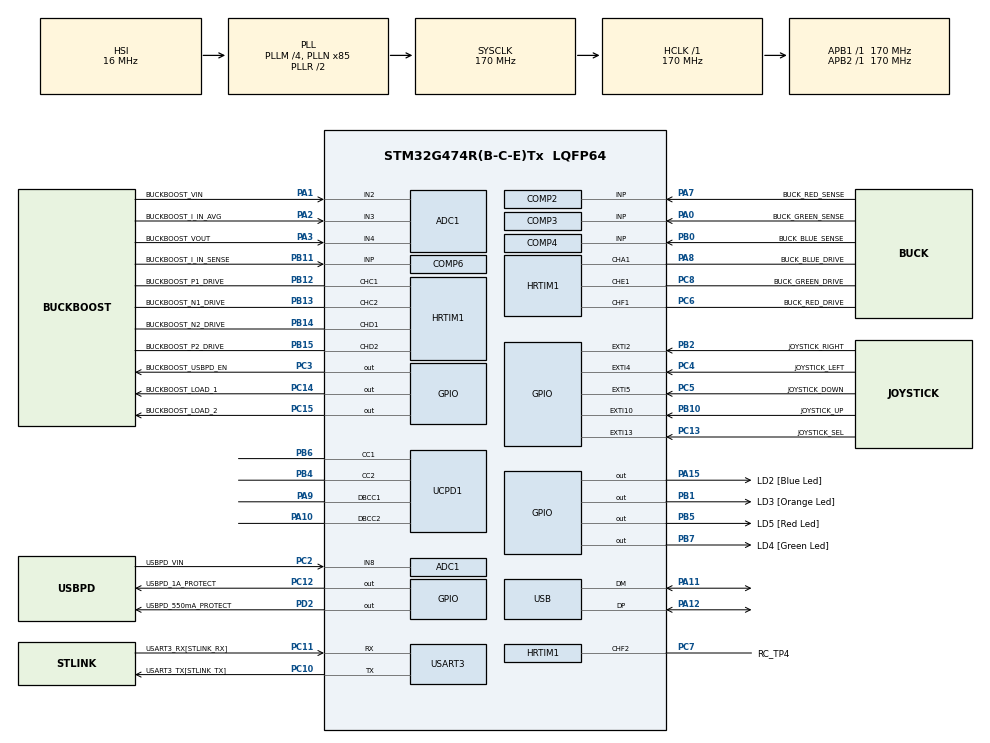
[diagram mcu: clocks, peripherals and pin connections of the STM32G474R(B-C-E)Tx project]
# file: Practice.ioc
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ADC1.Channel-0\#ChannelRegularConversion=ADC_CHANNEL_8
ADC1.NbrOfConversionFlag=1
ADC1.OffsetNumber-0\#ChannelRegularConversion=ADC_OFFSET_NONE
ADC1.Rank-0\#ChannelRegularConversion=1
ADC1.SamplingTime-0\#ChannelRegularConversion=ADC_SAMPLETIME_2CYCLES_5
ADC1.master=1
DAC3.DAC_Channel-DAC_OUT2_Int=DAC_CHANNEL_2
Mcu.Family=STM32G4
Mcu.Name=STM32G474R(B-C-E)Tx
Mcu.Package=LQFP64
NVIC.ADC1_2_IRQn=true\:0\:0\:false\:false\:true\:true\:true\:true
NVIC.EXTI15_10_IRQn=true\:0\:0\:false\:false\:true\:true\:true\:true
NVIC.EXTI2_IRQn=true\:0\:0\:false\:false\:true\:true\:true\:true
NVIC.EXTI4_IRQn=true\:0\:0\:false\:false\:true\:true\:true\:true
NVIC.EXTI9_5_IRQn=true\:0\:0\:false\:false\:true\:true\:true\:true
NVIC.HRTIM1_Master_IRQn=true\:0\:0\:false\:false\:true\:true\:true\:true
NVIC.HRTIM1_TIMF_IRQn=true\:0\:0\:false\:false\:true\:true\:true\:true
NVIC.PriorityGroup=NVIC_PRIORITYGROUP_4
NVIC.USART3_IRQn=true\:0\:0\:false\:false\:true\:true\:true\:true
NVIC.USB_HP_IRQn=true\:0\:0\:false\:false\:true\:true\:true\:true
PA0.GPIO_Label=BUCK_GREEN_SENSE
PA0.Mode=INP
PA0.Signal=COMP3_INP
PA1.GPIO_Label=BUCKBOOST_VIN
PA1.Mode=IN2-Single-Ended
PA1.Signal=ADC1_IN2
PA10.Mode=EnableDeadBattery
PA10.Signal=UCPD1_DBCC2
PA11.Mode=Device
PA11.Signal=USB_DM
PA12.Mode=Device
PA12.Signal=USB_DP
PA13.Mode=Serial_Wire
PA13.Signal=SYS_JTMS-SWDIO
PA14.Mode=Serial_Wire
PA14.Signal=SYS_JTCK-SWCLK
PA15.GPIO_Label=LD2 [Blue Led]
PA15.Signal=GPIO_Output
PA2.GPIO_Label=BUCKBOOST_I_IN_AVG
PA2.Mode=IN3-Single-Ended
PA2.Signal=ADC1_IN3
PA3.GPIO_Label=BUCKBOOST_VOUT
PA3.Mode=IN4-Single-Ended
PA3.Signal=ADC1_IN4
PA7.GPIO_Label=BUCK_RED_SENSE
PA7.Mode=INP
PA7.Signal=COMP2_INP
PA8.GPIO_Label=BUCK_BLUE_DRIVE
PA8.Mode=Output_TA1
PA8.Signal=HRTIM1_CHA1
PA9.Mode=EnableDeadBattery
PA9.Signal=UCPD1_DBCC1
PB0.GPIO_Label=BUCK_BLUE_SENSE
PB0.Mode=INP
PB0.Signal=COMP4_INP
PB1.GPIO_Label=LD3 [Orange Led]
PB1.Signal=GPIO_Output
PB10.GPIO_Label=JOYSTICK_UP
PB10.GPIO_PuPd=GPIO_PULLUP
PB10.Signal=GPXTI10
PB11.GPIO_Label=BUCKBOOST_I_IN_SENSE
PB11.Mode=INP
PB11.Signal=COMP6_INP
PB12.GPIO_Label=BUCKBOOST_P1_DRIVE
PB12.Mode=Output_TC1TC2
PB12.Signal=HRTIM1_CHC1
PB13.GPIO_Label=BUCKBOOST_N1_DRIVE
PB13.Mode=Output_TC1TC2
PB13.Signal=HRTIM1_CHC2
PB14.GPIO_Label=BUCKBOOST_N2_DRIVE
PB14.Mode=Output_TD1TD2
PB14.Signal=HRTIM1_CHD1
PB15.GPIO_Label=BUCKBOOST_P2_DRIVE
PB15.Mode=Output_TD1TD2
PB15.Signal=HRTIM1_CHD2
PB2.GPIO_Label=JOYSTICK_RIGHT
PB2.GPIO_PuPd=GPIO_PULLUP
PB2.Signal=GPXTI2
PB3.Signal=SYS_JTDO-SWO
PB4.Mode=Sink_AllSignals
PB4.Signal=UCPD1_CC2
PB5.GPIO_Label=LD5 [Red Led]
PB5.Signal=GPIO_Output
PB6.Mode=Sink_AllSignals
PB6.Signal=UCPD1_CC1
PB7.GPIO_Label=LD4 [Green Led]
PB7.Signal=GPIO_Output
PC10.GPIO_Label=USART3_TX[STLINK_TX]
PC10.GPIO_Speed=GPIO_SPEED_FREQ_MEDIUM
PC10.Mode=Asynchronous
PC10.Signal=USART3_TX
PC11.GPIO_Label=USART3_RX[STLINK_RX]
PC11.GPIO_Speed=GPIO_SPEED_FREQ_MEDIUM
PC11.Mode=Asynchronous
PC11.Signal=USART3_RX
PC12.GPIO_Label=USBPD_1A_PROTECT
PC12.Signal=GPIO_Output
PC13.GPIO_Label=JOYSTICK_SEL
PC13.GPIO_PuPd=GPIO_PULLUP
PC13.Signal=GPXTI13
PC14-OSC32_IN.GPIO_Label=BUCKBOOST_LOAD_1
PC14-OSC32_IN.Signal=GPIO_Output
PC15-OSC32_OUT.GPIO_Label=BUCKBOOST_LOAD_2
PC15-OSC32_OUT.Signal=GPIO_Output
PC2.GPIO_Label=USBPD_VIN
PC2.Mode=IN8-Single-Ended
PC2.Signal=ADC1_IN8
PC3.GPIO_Label=BUCKBOOST_USBPD_EN
PC3.Signal=GPIO_Output
PC4.GPIO_Label=JOYSTICK_LEFT
PC4.GPIO_PuPd=GPIO_PULLUP
PC4.Signal=GPXTI4
PC5.GPIO_Label=JOYSTICK_DOWN
PC5.GPIO_PuPd=GPIO_PULLUP
PC5.Signal=GPXTI5
PC6.GPIO_Label=BUCK_RED_DRIVE
PC6.Mode=Output_TF1TF2
PC6.Signal=HRTIM1_CHF1
PC7.GPIO_Label=RC_TP4
PC7.Mode=Output_TF1TF2
PC7.Signal=HRTIM1_CHF2
PC8.GPIO_Label=BUCK_GREEN_DRIVE
PC8.Mode=Output_TE1
PC8.Signal=HRTIM1_CHE1
PD2.GPIO_Label=USBPD_550mA_PROTECT
PD2.Signal=GPIO_Output
ProjectManager.HeapSize=0x200
ProjectManager.StackSize=0x400
ProjectManager.TargetToolchain=STM32CubeIDE
RCC.ADC12Freq_Value=170000000
RCC.ADC345Freq_Value=170000000
RCC.AHBFreq_Value=170000000
RCC.APB1Freq_Value=170000000
RCC.APB1TimFreq_Value=170000000
RCC.APB2Freq_Value=170000000
RCC.APB2TimFreq_Value=170000000
RCC.CK48CLockSelection=RCC_USBCLKSOURCE_HSI48
RCC.CortexFreq_Value=170000000
RCC.EXTERNAL_CLOCK_VALUE=12288000
RCC.HCLKFreq_Value=170000000
RCC.HSE_VALUE=8000000
RCC.HSI48_VALUE=48000000
RCC.HSI_VALUE=16000000
RCC.LSE_VALUE=32768
RCC.PLLM=RCC_PLLM_DIV4
RCC.PLLN=85
RCC.PLLP=RCC_PLLP_DIV8
RCC.PLLQ=RCC_PLLQ_DIV8
RCC.SYSCLKFreq_VALUE=170000000
RCC.SYSCLKSource=RCC_SYSCLKSOURCE_PLLCLK
RCC.USBFreq_Value=48000000
RCC.VCOOutputFreq_Value=340000000
USART3.ClockPrescaler=PRESCALER_DIV4
USART3.VirtualMode-Asynchronous=VM_ASYNC
USART3.WordLength=WORDLENGTH_8B
VP_COMP2_VS_DAC3OUT2.Mode=INM_DAC3OUT2
VP_COMP3_VS_DAC3OUT1.Mode=INM_DAC3OUT1
VP_COMP4_VS_DAC1OUT1.Mode=INM_DAC1OUT1
VP_COMP6_VS_DAC2OUT1.Mode=INM_DAC2OUT1
VP_DAC1_VS_DACI1.Mode=DAC_OUT1_Int
VP_DAC2_VS_DACI1.Mode=DAC_OUT1_Int
VP_DAC3_VS_DACI1.Mode=DAC_OUT1_Int
VP_DAC3_VS_DACI2.Mode=DAC_OUT2_Int
board=B-G474E-DPOW1

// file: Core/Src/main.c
/* USER CODE BEGIN Header */
/**
  ******************************************************************************
  * @file           : main.c
  * @brief          : Main program body
  ******************************************************************************
  * @attention
  *
  * Copyright (c) 2026 STMicroelectronics.
  * All rights reserved.
  *
  * This software is licensed under terms that can be found in the LICENSE file
  * in the root directory of this software component.
  * If no LICENSE file comes with this software, it is provided AS-IS.
  *
  ******************************************************************************
  */
/* USER CODE END Header */
#include "main.h"

ADC_HandleTypeDef hadc1;

COMP_HandleTypeDef hcomp2;
COMP_HandleTypeDef hcomp3;
COMP_HandleTypeDef hcomp4;
COMP_HandleTypeDef hcomp6;

DAC_HandleTypeDef hdac1;
DAC_HandleTypeDef hdac2;
DAC_HandleTypeDef hdac3;

HRTIM_HandleTypeDef hhrtim1;

UART_HandleTypeDef huart3;

PCD_HandleTypeDef hpcd_USB_FS;

void SystemClock_Config(void);
static void MX_GPIO_Init(void);
static void MX_ADC1_Init(void);
static void MX_COMP2_Init(void);
static void MX_COMP3_Init(void);
static void MX_COMP4_Init(void);
static void MX_COMP6_Init(void);
static void MX_DAC1_Init(void);
static void MX_DAC2_Init(void);
static void MX_DAC3_Init(void);
static void MX_HRTIM1_Init(void);
static void MX_UCPD1_Init(void);
static void MX_USART3_UART_Init(void);
static void MX_USB_PCD_Init(void);

int main(void)
{

  /* MCU Configuration--------------------------------------------------------*/

  /* Reset of all peripherals, Initializes the Flash interface and the Systick. */
  HAL_Init();

  /* Configure the system clock */
  SystemClock_Config();

  /* Initialize all configured peripherals */
  //MX_GPIO_Init();
  MX_ADC1_Init();
  MX_COMP2_Init();
  MX_COMP3_Init();
  MX_COMP4_Init();
  MX_COMP6_Init();
  MX_DAC1_Init();
  MX_DAC2_Init();
  MX_DAC3_Init();
  MX_HRTIM1_Init();
  MX_UCPD1_Init();
  MX_USART3_UART_Init();
  MX_USB_PCD_Init();
  /* USER CODE BEGIN 2 */
  /*
   RED: LD5, PB5
   ORANGE: LD3, PB1
   GREEN: LD4, PB7
   BLUE: LD2, PA15
   */
  RCC->AHB2ENR |= 1<<1;
  GPIOB->MODER &= ~(3 << (5*2));
  GPIOB->MODER |= 1<<(5*2);
  GPIOB->OTYPER &= ~(1 << 5);

  RCC->AHB2ENR |= 1<<0;
  GPIOA->MODER &= ~(3 << (15*2));
  GPIOA->MODER |= 1<<(15*2);
  GPIOA->OTYPER &= ~(1 << 15);

  RCC->APB1ENR1 |= 1<<4;
  TIM6->PSC = 16999; //
  TIM6->ARR = 9999; // 170,000,000 MHz / 17,000 / 10,000 = 1 Hz
  TIM6->DIER |= 1<<0;
  NVIC_SetPriority(TIM6_DAC_IRQn, 0);
  NVIC_EnableIRQ(TIM6_DAC_IRQn);

  TIM6->CR1 |= 1<<0;

  /* USER CODE END 2 */

  /* Infinite loop */
  while (1)
  {
    /* USER CODE BEGIN 3 */
	  /*
	  GPIOB->BSRR = 1<<5;
	  char txBuffer1[] = "RED LED ON\r\n";
	  uint16_t Size1 = strlen(txBuffer1);
	  HAL_UART_Transmit(&huart3, txBuffer1, Size1, 100);
	  HAL_Delay(1000);

	  GPIOA->BSRR = 1<<15;
	  char txBuffer3[] = "BLUE LED ON\r\n";
	  uint16_t Size3 = strlen(txBuffer3);
	  HAL_UART_Transmit(&huart3, txBuffer3, Size3, 100);
	  HAL_Delay(1000);

	  GPIOB->BSRR = (1<<5) << 16;
	  char txBuffer2[] = "RED LED OFF\r\n";
	  uint16_t Size2 = strlen(txBuffer2);
	  HAL_UART_Transmit(&huart3, txBuffer2, Size2, 100);
	  HAL_Delay(1000);

	  GPIOA->BSRR = (1<<15) << 16;
	  char txBuffer4[] = "BLUE LED OFF\r\n";
	  uint16_t Size4 = strlen(txBuffer4);
	  HAL_UART_Transmit(&huart3, txBuffer4, Size4, 100);
	  HAL_Delay(1000);
	  */
  }
  /* USER CODE END 3 */
}

void SystemClock_Config(void)
{
  RCC_OscInitTypeDef RCC_OscInitStruct = {0};
  RCC_ClkInitTypeDef RCC_ClkInitStruct = {0};

  /** Configure the main internal regulator output voltage
  */
  HAL_PWREx_ControlVoltageScaling(PWR_REGULATOR_VOLTAGE_SCALE1_BOOST);

  /** Initializes the RCC Oscillators according to the specified parameters
  * in the RCC_OscInitTypeDef structure.
  */
  RCC_OscInitStruct.OscillatorType = RCC_OSCILLATORTYPE_HSI|RCC_OSCILLATORTYPE_HSI48;
  RCC_OscInitStruct.HSIState = RCC_HSI_ON;
  RCC_OscInitStruct.HSICalibrationValue = RCC_HSICALIBRATION_DEFAULT;
  RCC_OscInitStruct.HSI48State = RCC_HSI48_ON;
  RCC_OscInitStruct.PLL.PLLState = RCC_PLL_ON;
  RCC_OscInitStruct.PLL.PLLSource = RCC_PLLSOURCE_HSI;
  RCC_OscInitStruct.PLL.PLLM = RCC_PLLM_DIV4;
  RCC_OscInitStruct.PLL.PLLN = 85;
  RCC_OscInitStruct.PLL.PLLP = RCC_PLLP_DIV8;
  RCC_OscInitStruct.PLL.PLLQ = RCC_PLLQ_DIV8;
  RCC_OscInitStruct.PLL.PLLR = RCC_PLLR_DIV2;
  if (HAL_RCC_OscConfig(&RCC_OscInitStruct) != HAL_OK)
  {
    Error_Handler();
  }

  /** Initializes the CPU, AHB and APB buses clocks
  */
  RCC_ClkInitStruct.ClockType = RCC_CLOCKTYPE_HCLK|RCC_CLOCKTYPE_SYSCLK
                              |RCC_CLOCKTYPE_PCLK1|RCC_CLOCKTYPE_PCLK2;
  RCC_ClkInitStruct.SYSCLKSource = RCC_SYSCLKSOURCE_PLLCLK;
  RCC_ClkInitStruct.AHBCLKDivider = RCC_SYSCLK_DIV1;
  RCC_ClkInitStruct.APB1CLKDivider = RCC_HCLK_DIV1;
  RCC_ClkInitStruct.APB2CLKDivider = RCC_HCLK_DIV1;

  if (HAL_RCC_ClockConfig(&RCC_ClkInitStruct, FLASH_LATENCY_4) != HAL_OK)
  {
    Error_Handler();
  }
}

static void MX_ADC1_Init(void)
{

  ADC_MultiModeTypeDef multimode = {0};
  ADC_ChannelConfTypeDef sConfig = {0};

  /** Common config
  */
  hadc1.Instance = ADC1;
  hadc1.Init.ClockPrescaler = ADC_CLOCK_SYNC_PCLK_DIV4;
  hadc1.Init.Resolution = ADC_RESOLUTION_12B;
  hadc1.Init.DataAlign = ADC_DATAALIGN_RIGHT;
  hadc1.Init.GainCompensation = 0;
  hadc1.Init.ScanConvMode = ADC_SCAN_DISABLE;
  hadc1.Init.EOCSelection = ADC_EOC_SINGLE_CONV;
  hadc1.Init.LowPowerAutoWait = DISABLE;
  hadc1.Init.ContinuousConvMode = DISABLE;
  hadc1.Init.NbrOfConversion = 1;
  hadc1.Init.DiscontinuousConvMode = DISABLE;
  hadc1.Init.ExternalTrigConv = ADC_SOFTWARE_START;
  hadc1.Init.ExternalTrigConvEdge = ADC_EXTERNALTRIGCONVEDGE_NONE;
  hadc1.Init.DMAContinuousRequests = DISABLE;
  hadc1.Init.Overrun = ADC_OVR_DATA_PRESERVED;
  hadc1.Init.OversamplingMode = DISABLE;
  if (HAL_ADC_Init(&hadc1) != HAL_OK)
  {
    Error_Handler();
  }

  /** Configure the ADC multi-mode
  */
  multimode.Mode = ADC_MODE_INDEPENDENT;
  if (HAL_ADCEx_MultiModeConfigChannel(&hadc1, &multimode) != HAL_OK)
  {
    Error_Handler();
  }

  /** Configure Regular Channel
  */
  sConfig.Channel = ADC_CHANNEL_8;
  sConfig.Rank = ADC_REGULAR_RANK_1;
  sConfig.SamplingTime = ADC_SAMPLETIME_2CYCLES_5;
  sConfig.SingleDiff = ADC_SINGLE_ENDED;
  sConfig.OffsetNumber = ADC_OFFSET_NONE;
  sConfig.Offset = 0;
  if (HAL_ADC_ConfigChannel(&hadc1, &sConfig) != HAL_OK)
  {
    Error_Handler();
  }

}

static void MX_COMP2_Init(void)
{

  hcomp2.Instance = COMP2;
  hcomp2.Init.InputPlus = COMP_INPUT_PLUS_IO1;
  hcomp2.Init.InputMinus = COMP_INPUT_MINUS_DAC3_CH2;
  hcomp2.Init.OutputPol = COMP_OUTPUTPOL_NONINVERTED;
  hcomp2.Init.Hysteresis = COMP_HYSTERESIS_NONE;
  hcomp2.Init.BlankingSrce = COMP_BLANKINGSRC_NONE;
  hcomp2.Init.TriggerMode = COMP_TRIGGERMODE_NONE;
  if (HAL_COMP_Init(&hcomp2) != HAL_OK)
  {
    Error_Handler();
  }

}

static void MX_COMP3_Init(void)
{

  hcomp3.Instance = COMP3;
  hcomp3.Init.InputPlus = COMP_INPUT_PLUS_IO1;
  hcomp3.Init.InputMinus = COMP_INPUT_MINUS_DAC3_CH1;
  hcomp3.Init.OutputPol = COMP_OUTPUTPOL_NONINVERTED;
  hcomp3.Init.Hysteresis = COMP_HYSTERESIS_NONE;
  hcomp3.Init.BlankingSrce = COMP_BLANKINGSRC_NONE;
  hcomp3.Init.TriggerMode = COMP_TRIGGERMODE_NONE;
  if (HAL_COMP_Init(&hcomp3) != HAL_OK)
  {
    Error_Handler();
  }

}

static void MX_COMP4_Init(void)
{

  hcomp4.Instance = COMP4;
  hcomp4.Init.InputPlus = COMP_INPUT_PLUS_IO1;
  hcomp4.Init.InputMinus = COMP_INPUT_MINUS_DAC1_CH1;
  hcomp4.Init.OutputPol = COMP_OUTPUTPOL_NONINVERTED;
  hcomp4.Init.Hysteresis = COMP_HYSTERESIS_NONE;
  hcomp4.Init.BlankingSrce = COMP_BLANKINGSRC_NONE;
  hcomp4.Init.TriggerMode = COMP_TRIGGERMODE_NONE;
  if (HAL_COMP_Init(&hcomp4) != HAL_OK)
  {
    Error_Handler();
  }

}

static void MX_COMP6_Init(void)
{

  hcomp6.Instance = COMP6;
  hcomp6.Init.InputPlus = COMP_INPUT_PLUS_IO1;
  hcomp6.Init.InputMinus = COMP_INPUT_MINUS_DAC2_CH1;
  hcomp6.Init.OutputPol = COMP_OUTPUTPOL_NONINVERTED;
  hcomp6.Init.Hysteresis = COMP_HYSTERESIS_NONE;
  hcomp6.Init.BlankingSrce = COMP_BLANKINGSRC_NONE;
  hcomp6.Init.TriggerMode = COMP_TRIGGERMODE_NONE;
  if (HAL_COMP_Init(&hcomp6) != HAL_OK)
  {
    Error_Handler();
  }

}

static void MX_DAC1_Init(void)
{

  DAC_ChannelConfTypeDef sConfig = {0};

  /** DAC Initialization
  */
  hdac1.Instance = DAC1;
  if (HAL_DAC_Init(&hdac1) != HAL_OK)
  {
    Error_Handler();
  }

  /** DAC channel OUT1 config
  */
  sConfig.DAC_HighFrequency = DAC_HIGH_FREQUENCY_INTERFACE_MODE_AUTOMATIC;
  sConfig.DAC_DMADoubleDataMode = DISABLE;
  sConfig.DAC_SignedFormat = DISABLE;
  sConfig.DAC_SampleAndHold = DAC_SAMPLEANDHOLD_DISABLE;
  sConfig.DAC_Trigger = DAC_TRIGGER_NONE;
  sConfig.DAC_Trigger2 = DAC_TRIGGER_NONE;
  sConfig.DAC_OutputBuffer = DAC_OUTPUTBUFFER_DISABLE;
  sConfig.DAC_ConnectOnChipPeripheral = DAC_CHIPCONNECT_INTERNAL;
  sConfig.DAC_UserTrimming = DAC_TRIMMING_FACTORY;
  if (HAL_DAC_ConfigChannel(&hdac1, &sConfig, DAC_CHANNEL_1) != HAL_OK)
  {
    Error_Handler();
  }

}

static void MX_DAC2_Init(void)
{

  DAC_ChannelConfTypeDef sConfig = {0};

  /** DAC Initialization
  */
  hdac2.Instance = DAC2;
  if (HAL_DAC_Init(&hdac2) != HAL_OK)
  {
    Error_Handler();
  }

  /** DAC channel OUT1 config
  */
  sConfig.DAC_HighFrequency = DAC_HIGH_FREQUENCY_INTERFACE_MODE_AUTOMATIC;
  sConfig.DAC_DMADoubleDataMode = DISABLE;
  sConfig.DAC_SignedFormat = DISABLE;
  sConfig.DAC_SampleAndHold = DAC_SAMPLEANDHOLD_DISABLE;
  sConfig.DAC_Trigger = DAC_TRIGGER_NONE;
  sConfig.DAC_Trigger2 = DAC_TRIGGER_NONE;
  sConfig.DAC_OutputBuffer = DAC_OUTPUTBUFFER_DISABLE;
  sConfig.DAC_ConnectOnChipPeripheral = DAC_CHIPCONNECT_INTERNAL;
  sConfig.DAC_UserTrimming = DAC_TRIMMING_FACTORY;
  if (HAL_DAC_ConfigChannel(&hdac2, &sConfig, DAC_CHANNEL_1) != HAL_OK)
  {
    Error_Handler();
  }

}

static void MX_DAC3_Init(void)
{

  DAC_ChannelConfTypeDef sConfig = {0};

  /** DAC Initialization
  */
  hdac3.Instance = DAC3;
  if (HAL_DAC_Init(&hdac3) != HAL_OK)
  {
    Error_Handler();
  }

  /** DAC channel OUT1 config
  */
  sConfig.DAC_HighFrequency = DAC_HIGH_FREQUENCY_INTERFACE_MODE_AUTOMATIC;
  sConfig.DAC_DMADoubleDataMode = DISABLE;
  sConfig.DAC_SignedFormat = DISABLE;
  sConfig.DAC_SampleAndHold = DAC_SAMPLEANDHOLD_DISABLE;
  sConfig.DAC_Trigger = DAC_TRIGGER_NONE;
  sConfig.DAC_Trigger2 = DAC_TRIGGER_NONE;
  sConfig.DAC_OutputBuffer = DAC_OUTPUTBUFFER_DISABLE;
  sConfig.DAC_ConnectOnChipPeripheral = DAC_CHIPCONNECT_INTERNAL;
  sConfig.DAC_UserTrimming = DAC_TRIMMING_FACTORY;
  if (HAL_DAC_ConfigChannel(&hdac3, &sConfig, DAC_CHANNEL_1) != HAL_OK)
  {
    Error_Handler();
  }

  /** DAC channel OUT2 config
  */
  if (HAL_DAC_ConfigChannel(&hdac3, &sConfig, DAC_CHANNEL_2) != HAL_OK)
  {
    Error_Handler();
  }

}

static void MX_HRTIM1_Init(void)
{

  HRTIM_TimeBaseCfgTypeDef pTimeBaseCfg = {0};
  HRTIM_TimerCtlTypeDef pTimerCtl = {0};
  HRTIM_TimerCfgTypeDef pTimerCfg = {0};
  HRTIM_OutputCfgTypeDef pOutputCfg = {0};

  hhrtim1.Instance = HRTIM1;
  hhrtim1.Init.HRTIMInterruptResquests = HRTIM_IT_NONE;
  hhrtim1.Init.SyncOptions = HRTIM_SYNCOPTION_NONE;
  if (HAL_HRTIM_Init(&hhrtim1) != HAL_OK)
  {
    Error_Handler();
  }
  if (HAL_HRTIM_DLLCalibrationStart(&hhrtim1, HRTIM_CALIBRATIONRATE_3) != HAL_OK)
  {
    Error_Handler();
  }
  if (HAL_HRTIM_PollForDLLCalibration(&hhrtim1, 10) != HAL_OK)
  {
    Error_Handler();
  }
  pTimeBaseCfg.Period = 0xFFDF;
  pTimeBaseCfg.RepetitionCounter = 0x00;
  pTimeBaseCfg.PrescalerRatio = HRTIM_PRESCALERRATIO_MUL32;
  pTimeBaseCfg.Mode = HRTIM_MODE_CONTINUOUS;
  if (HAL_HRTIM_TimeBaseConfig(&hhrtim1, HRTIM_TIMERINDEX_TIMER_A, &pTimeBaseCfg) != HAL_OK)
  {
    Error_Handler();
  }
  pTimerCtl.UpDownMode = HRTIM_TIMERUPDOWNMODE_UP;
  pTimerCtl.DualChannelDacEnable = HRTIM_TIMER_DCDE_DISABLED;
  if (HAL_HRTIM_WaveformTimerControl(&hhrtim1, HRTIM_TIMERINDEX_TIMER_A, &pTimerCtl) != HAL_OK)
  {
    Error_Handler();
  }
  pTimerCfg.InterruptRequests = HRTIM_TIM_IT_NONE;
  pTimerCfg.DMARequests = HRTIM_TIM_DMA_NONE;
  pTimerCfg.DMASrcAddress = 0x0000;
  pTimerCfg.DMADstAddress = 0x0000;
  pTimerCfg.DMASize = 0x1;
  pTimerCfg.HalfModeEnable = HRTIM_HALFMODE_DISABLED;
  pTimerCfg.InterleavedMode = HRTIM_INTERLEAVED_MODE_DISABLED;
  pTimerCfg.StartOnSync = HRTIM_SYNCSTART_DISABLED;
  pTimerCfg.ResetOnSync = HRTIM_SYNCRESET_DISABLED;
  pTimerCfg.DACSynchro = HRTIM_DACSYNC_NONE;
  pTimerCfg.PreloadEnable = HRTIM_PRELOAD_DISABLED;
  pTimerCfg.UpdateGating = HRTIM_UPDATEGATING_INDEPENDENT;
  pTimerCfg.BurstMode = HRTIM_TIMERBURSTMODE_MAINTAINCLOCK;
  pTimerCfg.RepetitionUpdate = HRTIM_UPDATEONREPETITION_DISABLED;
  pTimerCfg.PushPull = HRTIM_TIMPUSHPULLMODE_DISABLED;
  pTimerCfg.FaultEnable = HRTIM_TIMFAULTENABLE_NONE;
  pTimerCfg.FaultLock = HRTIM_TIMFAULTLOCK_READWRITE;
  pTimerCfg.DeadTimeInsertion = HRTIM_TIMDEADTIMEINSERTION_DISABLED;
  pTimerCfg.DelayedProtectionMode = HRTIM_TIMER_A_B_C_DELAYEDPROTECTION_DISABLED;
  pTimerCfg.UpdateTrigger = HRTIM_TIMUPDATETRIGGER_NONE;
  pTimerCfg.ResetTrigger = HRTIM_TIMRESETTRIGGER_NONE;
  pTimerCfg.ResetUpdate = HRTIM_TIMUPDATEONRESET_DISABLED;
  pTimerCfg.ReSyncUpdate = HRTIM_TIMERESYNC_UPDATE_UNCONDITIONAL;
  if (HAL_HRTIM_WaveformTimerConfig(&hhrtim1, HRTIM_TIMERINDEX_TIMER_A, &pTimerCfg) != HAL_OK)
  {
    Error_Handler();
  }
  if (HAL_HRTIM_WaveformTimerConfig(&hhrtim1, HRTIM_TIMERINDEX_TIMER_C, &pTimerCfg) != HAL_OK)
  {
    Error_Handler();
  }
  pTimerCfg.DelayedProtectionMode = HRTIM_TIMER_D_E_DELAYEDPROTECTION_DISABLED;
  if (HAL_HRTIM_WaveformTimerConfig(&hhrtim1, HRTIM_TIMERINDEX_TIMER_D, &pTimerCfg) != HAL_OK)
  {
    Error_Handler();
  }
  if (HAL_HRTIM_WaveformTimerConfig(&hhrtim1, HRTIM_TIMERINDEX_TIMER_E, &pTimerCfg) != HAL_OK)
  {
    Error_Handler();
  }
  pTimerCfg.DelayedProtectionMode = HRTIM_TIMER_F_DELAYEDPROTECTION_DISABLED;
  if (HAL_HRTIM_WaveformTimerConfig(&hhrtim1, HRTIM_TIMERINDEX_TIMER_F, &pTimerCfg) != HAL_OK)
  {
    Error_Handler();
  }
  pOutputCfg.Polarity = HRTIM_OUTPUTPOLARITY_HIGH;
  pOutputCfg.SetSource = HRTIM_OUTPUTSET_NONE;
  pOutputCfg.ResetSource = HRTIM_OUTPUTRESET_NONE;
  pOutputCfg.IdleMode = HRTIM_OUTPUTIDLEMODE_NONE;
  pOutputCfg.IdleLevel = HRTIM_OUTPUTIDLELEVEL_INACTIVE;
  pOutputCfg.FaultLevel = HRTIM_OUTPUTFAULTLEVEL_NONE;
  pOutputCfg.ChopperModeEnable = HRTIM_OUTPUTCHOPPERMODE_DISABLED;
  pOutputCfg.BurstModeEntryDelayed = HRTIM_OUTPUTBURSTMODEENTRY_REGULAR;
  if (HAL_HRTIM_WaveformOutputConfig(&hhrtim1, HRTIM_TIMERINDEX_TIMER_A, HRTIM_OUTPUT_TA1, &pOutputCfg) != HAL_OK)
  {
    Error_Handler();
  }
  if (HAL_HRTIM_WaveformOutputConfig(&hhrtim1, HRTIM_TIMERINDEX_TIMER_C, HRTIM_OUTPUT_TC1, &pOutputCfg) != HAL_OK)
  {
    Error_Handler();
  }
  if (HAL_HRTIM_WaveformOutputConfig(&hhrtim1, HRTIM_TIMERINDEX_TIMER_D, HRTIM_OUTPUT_TD1, &pOutputCfg) != HAL_OK)
  {
    Error_Handler();
  }
  if (HAL_HRTIM_WaveformOutputConfig(&hhrtim1, HRTIM_TIMERINDEX_TIMER_E, HRTIM_OUTPUT_TE1, &pOutputCfg) != HAL_OK)
  {
    Error_Handler();
  }
  if (HAL_HRTIM_WaveformOutputConfig(&hhrtim1, HRTIM_TIMERINDEX_TIMER_F, HRTIM_OUTPUT_TF1, &pOutputCfg) != HAL_OK)
  {
    Error_Handler();
  }
  if (HAL_HRTIM_TimeBaseConfig(&hhrtim1, HRTIM_TIMERINDEX_TIMER_C, &pTimeBaseCfg) != HAL_OK)
  {
    Error_Handler();
  }
  if (HAL_HRTIM_WaveformTimerControl(&hhrtim1, HRTIM_TIMERINDEX_TIMER_C, &pTimerCtl) != HAL_OK)
  {
    Error_Handler();
  }
  if (HAL_HRTIM_WaveformOutputConfig(&hhrtim1, HRTIM_TIMERINDEX_TIMER_C, HRTIM_OUTPUT_TC2, &pOutputCfg) != HAL_OK)
  {
    Error_Handler();
  }
  if (HAL_HRTIM_WaveformOutputConfig(&hhrtim1, HRTIM_TIMERINDEX_TIMER_D, HRTIM_OUTPUT_TD2, &pOutputCfg) != HAL_OK)
  {
    Error_Handler();
  }
  if (HAL_HRTIM_WaveformOutputConfig(&hhrtim1, HRTIM_TIMERINDEX_TIMER_F, HRTIM_OUTPUT_TF2, &pOutputCfg) != HAL_OK)
  {
    Error_Handler();
  }
  if (HAL_HRTIM_TimeBaseConfig(&hhrtim1, HRTIM_TIMERINDEX_TIMER_D, &pTimeBaseCfg) != HAL_OK)
  {
    Error_Handler();
  }
  if (HAL_HRTIM_WaveformTimerControl(&hhrtim1, HRTIM_TIMERINDEX_TIMER_D, &pTimerCtl) != HAL_OK)
  {
    Error_Handler();
  }
  if (HAL_HRTIM_TimeBaseConfig(&hhrtim1, HRTIM_TIMERINDEX_TIMER_E, &pTimeBaseCfg) != HAL_OK)
  {
    Error_Handler();
  }
  if (HAL_HRTIM_WaveformTimerControl(&hhrtim1, HRTIM_TIMERINDEX_TIMER_E, &pTimerCtl) != HAL_OK)
  {
    Error_Handler();
  }
  if (HAL_HRTIM_TimeBaseConfig(&hhrtim1, HRTIM_TIMERINDEX_TIMER_F, &pTimeBaseCfg) != HAL_OK)
  {
    Error_Handler();
  }
  if (HAL_HRTIM_WaveformTimerControl(&hhrtim1, HRTIM_TIMERINDEX_TIMER_F, &pTimerCtl) != HAL_OK)
  {
    Error_Handler();
  }
  HAL_HRTIM_MspPostInit(&hhrtim1);

}

static void MX_UCPD1_Init(void)
{

  LL_GPIO_InitTypeDef GPIO_InitStruct = {0};

  /* Peripheral clock enable */
  LL_APB1_GRP2_EnableClock(LL_APB1_GRP2_PERIPH_UCPD1);

  LL_AHB2_GRP1_EnableClock(LL_AHB2_GRP1_PERIPH_GPIOB);
  /**UCPD1 GPIO Configuration
  PB4   ------> UCPD1_CC2
  PB6   ------> UCPD1_CC1
  */
  GPIO_InitStruct.Pin = LL_GPIO_PIN_4;
  GPIO_InitStruct.Mode = LL_GPIO_MODE_ANALOG;
  GPIO_InitStruct.Pull = LL_GPIO_PULL_NO;
  LL_GPIO_Init(GPIOB, &GPIO_InitStruct);

  GPIO_InitStruct.Pin = LL_GPIO_PIN_6;
  GPIO_InitStruct.Mode = LL_GPIO_MODE_ANALOG;
  GPIO_InitStruct.Pull = LL_GPIO_PULL_NO;
  LL_GPIO_Init(GPIOB, &GPIO_InitStruct);

}

static void MX_USART3_UART_Init(void)
{

  huart3.Instance = USART3;
  huart3.Init.BaudRate = 115200;
  huart3.Init.WordLength = UART_WORDLENGTH_8B;
  huart3.Init.StopBits = UART_STOPBITS_1;
  huart3.Init.Parity = UART_PARITY_NONE;
  huart3.Init.Mode = UART_MODE_TX_RX;
  huart3.Init.HwFlowCtl = UART_HWCONTROL_NONE;
  huart3.Init.OverSampling = UART_OVERSAMPLING_16;
  huart3.Init.OneBitSampling = UART_ONE_BIT_SAMPLE_DISABLE;
  huart3.Init.ClockPrescaler = UART_PRESCALER_DIV4;
  huart3.AdvancedInit.AdvFeatureInit = UART_ADVFEATURE_NO_INIT;
  if (HAL_UART_Init(&huart3) != HAL_OK)
  {
    Error_Handler();
  }
  if (HAL_UARTEx_SetTxFifoThreshold(&huart3, UART_TXFIFO_THRESHOLD_1_8) != HAL_OK)
  {
    Error_Handler();
  }
  if (HAL_UARTEx_SetRxFifoThreshold(&huart3, UART_RXFIFO_THRESHOLD_1_8) != HAL_OK)
  {
    Error_Handler();
  }
  if (HAL_UARTEx_DisableFifoMode(&huart3) != HAL_OK)
  {
    Error_Handler();
  }

}

static void MX_USB_PCD_Init(void)
{

  hpcd_USB_FS.Instance = USB;
  hpcd_USB_FS.Init.dev_endpoints = 8;
  hpcd_USB_FS.Init.speed = PCD_SPEED_FULL;
  hpcd_USB_FS.Init.phy_itface = PCD_PHY_EMBEDDED;
  hpcd_USB_FS.Init.Sof_enable = DISABLE;
  hpcd_USB_FS.Init.low_power_enable = DISABLE;
  hpcd_USB_FS.Init.lpm_enable = DISABLE;
  hpcd_USB_FS.Init.battery_charging_enable = DISABLE;
  if (HAL_PCD_Init(&hpcd_USB_FS) != HAL_OK)
  {
    Error_Handler();
  }

}

static void MX_GPIO_Init(void)
{
  GPIO_InitTypeDef GPIO_InitStruct = {0};

  /* GPIO Ports Clock Enable */
  __HAL_RCC_GPIOC_CLK_ENABLE();
  __HAL_RCC_GPIOA_CLK_ENABLE();
  __HAL_RCC_GPIOB_CLK_ENABLE();
  __HAL_RCC_GPIOD_CLK_ENABLE();

  /*Configure GPIO pin Output Level */
  HAL_GPIO_WritePin(GPIOC, BUCKBOOST_LOAD_1_Pin|BUCKBOOST_LOAD_2_Pin|BUCKBOOST_USBPD_EN_Pin|USBPD_1A_PROTECT_Pin, GPIO_PIN_RESET);

  /*Configure GPIO pin Output Level */
  HAL_GPIO_WritePin(GPIOB, LD3_Pin|LD5_Pin|LD4_Pin, GPIO_PIN_RESET);

  /*Configure GPIO pin Output Level */
  HAL_GPIO_WritePin(LD2_GPIO_Port, LD2_Pin, GPIO_PIN_RESET);

  /*Configure GPIO pin Output Level */
  HAL_GPIO_WritePin(USBPD_550mA_PROTECT_GPIO_Port, USBPD_550mA_PROTECT_Pin, GPIO_PIN_RESET);

  /*Configure GPIO pins : JOYSTICK_SEL_Pin JOYSTICK_LEFT_Pin JOYSTICK_DOWN_Pin */
  GPIO_InitStruct.Pin = JOYSTICK_SEL_Pin|JOYSTICK_LEFT_Pin|JOYSTICK_DOWN_Pin;
  GPIO_InitStruct.Mode = GPIO_MODE_IT_RISING;
  GPIO_InitStruct.Pull = GPIO_PULLUP;
  HAL_GPIO_Init(GPIOC, &GPIO_InitStruct);

  /*Configure GPIO pins : BUCKBOOST_LOAD_1_Pin BUCKBOOST_LOAD_2_Pin BUCKBOOST_USBPD_EN_Pin USBPD_1A_PROTECT_Pin */
  GPIO_InitStruct.Pin = BUCKBOOST_LOAD_1_Pin|BUCKBOOST_LOAD_2_Pin|BUCKBOOST_USBPD_EN_Pin|USBPD_1A_PROTECT_Pin;
  GPIO_InitStruct.Mode = GPIO_MODE_OUTPUT_PP;
  GPIO_InitStruct.Pull = GPIO_NOPULL;
  GPIO_InitStruct.Speed = GPIO_SPEED_FREQ_LOW;
  HAL_GPIO_Init(GPIOC, &GPIO_InitStruct);

  /*Configure GPIO pins : LD3_Pin LD5_Pin LD4_Pin */
  GPIO_InitStruct.Pin = LD3_Pin|LD5_Pin|LD4_Pin;
  GPIO_InitStruct.Mode = GPIO_MODE_OUTPUT_PP;
  GPIO_InitStruct.Pull = GPIO_NOPULL;
  GPIO_InitStruct.Speed = GPIO_SPEED_FREQ_LOW;
  HAL_GPIO_Init(GPIOB, &GPIO_InitStruct);

  /*Configure GPIO pins : JOYSTICK_RIGHT_Pin JOYSTICK_UP_Pin */
  GPIO_InitStruct.Pin = JOYSTICK_RIGHT_Pin|JOYSTICK_UP_Pin;
  GPIO_InitStruct.Mode = GPIO_MODE_IT_RISING;
  GPIO_InitStruct.Pull = GPIO_PULLUP;
  HAL_GPIO_Init(GPIOB, &GPIO_InitStruct);

  /*Configure GPIO pin : LD2_Pin */
  GPIO_InitStruct.Pin = LD2_Pin;
  GPIO_InitStruct.Mode = GPIO_MODE_OUTPUT_PP;
  GPIO_InitStruct.Pull = GPIO_NOPULL;
  GPIO_InitStruct.Speed = GPIO_SPEED_FREQ_LOW;
  HAL_GPIO_Init(LD2_GPIO_Port, &GPIO_InitStruct);

  /*Configure GPIO pin : USBPD_550mA_PROTECT_Pin */
  GPIO_InitStruct.Pin = USBPD_550mA_PROTECT_Pin;
  GPIO_InitStruct.Mode = GPIO_MODE_OUTPUT_PP;
  GPIO_InitStruct.Pull = GPIO_NOPULL;
  GPIO_InitStruct.Speed = GPIO_SPEED_FREQ_LOW;
  HAL_GPIO_Init(USBPD_550mA_PROTECT_GPIO_Port, &GPIO_InitStruct);

  /* EXTI interrupt init*/
  HAL_NVIC_SetPriority(EXTI2_IRQn, 0, 0);
  HAL_NVIC_EnableIRQ(EXTI2_IRQn);

  HAL_NVIC_SetPriority(EXTI4_IRQn, 0, 0);
  HAL_NVIC_EnableIRQ(EXTI4_IRQn);

  HAL_NVIC_SetPriority(EXTI9_5_IRQn, 0, 0);
  HAL_NVIC_EnableIRQ(EXTI9_5_IRQn);

  HAL_NVIC_SetPriority(EXTI15_10_IRQn, 0, 0);
  HAL_NVIC_EnableIRQ(EXTI15_10_IRQn);

}

/* USER CODE BEGIN 4 */
void TIM6_DAC_IRQHandler(void)
{
	if(TIM6->SR & (1<<0))
	{
    TIM6->SR &= ~(1<<0);
    GPIOB->ODR ^= (1<<5);
	}
}

bool RED_ADC_Init(void)
{
  //PA7, ADC2_IN4
  RCC->AHB2ENR |= (1<<0) | (1<<13); // ADC12, GPIOA CLK EN

  GPIOA->MODER &= ~(3<<7*2); // PA7 mode init
  GPIOA->MODER |= (3<<7*2); // PA7 Analog mode
  GPIOA->PUPDR &= ~(3<<7*2); // PA7 no pull up/down

  ADC2->CR &= ~(1<<29); // Clear Deep Power Down mode
  ADC2->CR |= (1<<28); // ADC VREG EN
  HAL_Delay(1); // startup delay

  if(!(ADC2->CR & (1<<29)) && (ADC2->CR & (1<<28)) && !(ADC2->CR & (1<<0)))
  {
    ADC2->CR &= ~(1<<30); // Single-Ended Cal
    ADC2->CR |= (1<<31); // ADC Calibration start
    while(ADC2->CR & (1<<31)); // wait until ADECAL=0

    ADC2->SQR1 = 0; // sequence initialize
    ADC2->SQR1 |= (7<<6); // sequence setup
    ADC2->SMPR1 = 0; // sample time initialize
    ADC2->SMPR1 |= (5<<(4*3)); // sample time = 92.5 Clock cycles

    ADC2->ISR = 1<<0; // ADC Ready clear
    ADC2->CR |= 1<<0; // ADC EN
    while(!(ADC2->ISR & (1<<0)));
    ADC2->ISR = 1<<0; // ADC Ready Clear
    return 0;
  }
  else return 1;
}
/* USER CODE END 4 */

void Error_Handler(void)
{
  __disable_irq();
  while (1)
  {
  }
}
